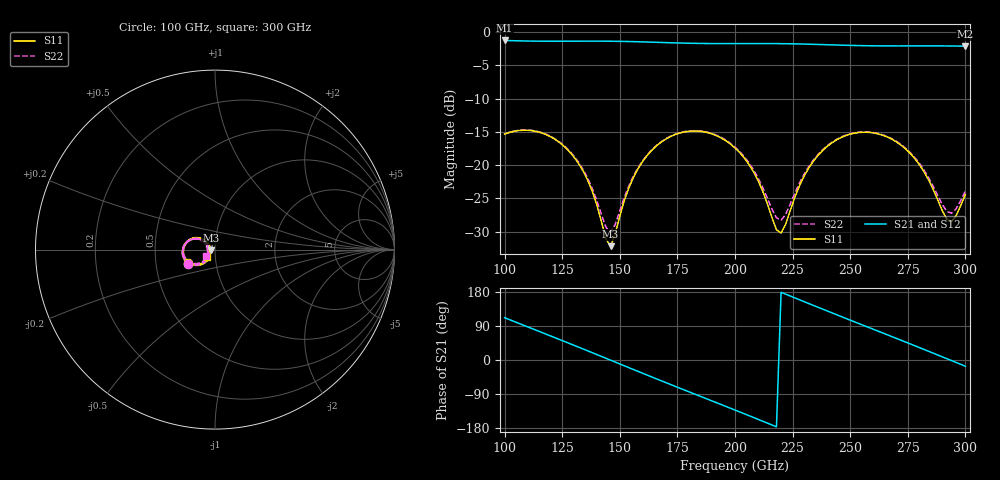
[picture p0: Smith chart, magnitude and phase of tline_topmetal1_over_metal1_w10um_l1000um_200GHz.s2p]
#  GHZ S DB R 50
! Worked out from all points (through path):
!   101 points, 100 GHz to 300 GHz, reference 50 ohm
!   highest |S21| = -1.27 dB at 100 GHz (marker M1); lowest = -2.1 dB at 300 GHz (marker M2)
!   group delay of S21, straight-line fit = 6.78 ps
!   lowest |S11| = -32.2 dB at 146 GHz (marker M3), VSWR 1.05, Z = 47.6 - j0.44 ohm
!   |S11| at or under -10 dB: start of sweep to end of sweep
!   |S22| runs from -30.1 to -14.7 dB; largest |S21 - S12| = 9.4e-14
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100  -15.36 -153.3  -1.27 111.7  -1.27 111.7  -15.32 -152.6
108  -14.77 -170.6  -1.34 92.3  -1.34 92.3  -14.73 -169.5
116  -15.17 172.2  -1.38 73.0  -1.38 73.0  -15.11 173.8
126  -17.24 151.9  -1.39 48.8  -1.39 48.8  -17.14 154.4
134  -20.86 138.9  -1.38 29.3  -1.38 29.3  -20.64 142.9
146  -32.20 -169.2  -1.39 -0.5  -1.39 -0.5  -30.11 -170.6
156  -21.80 -125.5  -1.45 -25.3  -1.45 -25.3  -21.60 -129.1
168  -16.55 -144.7  -1.57 -54.8  -1.57 -54.8  -16.49 -145.9
184  -14.90 -177.2  -1.71 -93.5  -1.71 -93.5  -14.85 -176.8
200  -17.42 151.9  -1.74 -132.1  -1.74 -132.1  -17.29 153.9
208  -21.00 141.0  -1.73 -151.6  -1.73 -151.6  -20.70 144.7
218  -29.73 168.0  -1.74 -176.3  -1.74 -176.3  -27.94 171.0
220  -30.22 -169.0  -1.75 178.7  -1.75 178.7  -28.29 -171.3
228  -23.11 -130.2  -1.80 158.9  -1.80 158.9  -22.69 -135.8
234  -19.43 -134.3  -1.85 144.1  -1.85 144.1  -19.26 -138.1
244  -16.23 -150.7  -1.95 119.7  -1.95 119.7  -16.16 -152.9
252  -15.20 -166.0  -2.03 100.4  -2.03 100.4  -15.14 -167.4
268  -16.10 163.6  -2.09 62.0  -2.09 62.0  -16.03 163.5
280  -19.93 146.0  -2.09 32.9  -2.09 32.9  -19.73 147.3
292  -28.19 171.6  -2.10 3.3  -2.10 3.3  -26.99 172.2
296  -27.61 -154.7  -2.11 -6.5  -2.11 -6.5  -26.56 -159.4
300  -24.43 -138.2  -2.14 -16.4  -2.14 -16.4  -23.91 -143.6
